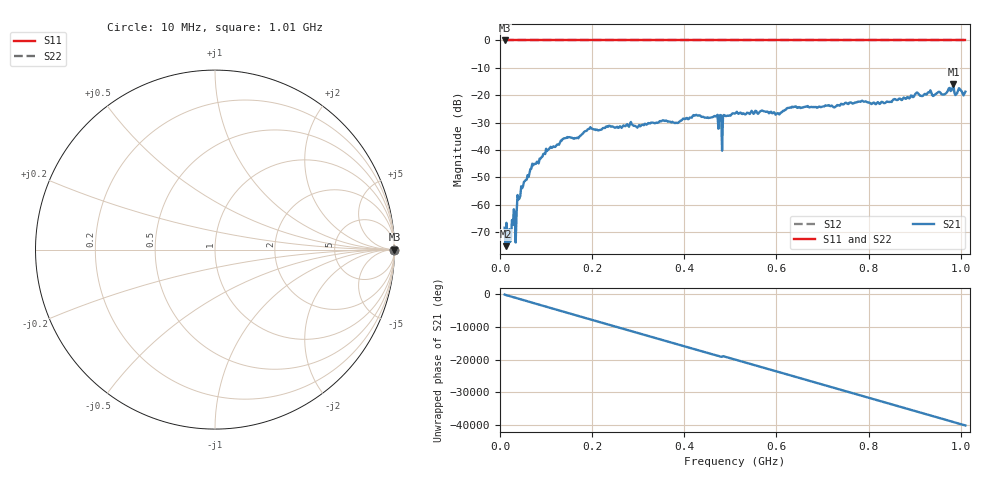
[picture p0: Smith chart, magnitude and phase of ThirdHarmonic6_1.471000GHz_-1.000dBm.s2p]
! 8/16/2025 5:09:10 PM
! C:\ANRITSUVNA\TEMP\TEMP.S2P
! CHANNEL.1
! TR.MEASUREMENT
! RAW.DATA
! RF.CORRECTION.OFF
! AVERAGING.OFF
! IF.BANDWIDTH: 5KHZ
! SWEEPTYPE:  FREQ.SWEEP(Linear)
! Reference Plane Port Info
! PORT:  PORT1  PORT2
! DISTANCE:  0  m  0  m
! TIME:  0  s  0  s
! PHASE.OFFSET:  0  deg.  0  deg.
! LOSS:  0  dB  0  dB
! REF.LOSS:  0  dB  0  dB
! REF.FREQ:  0  Hz  0  Hz
! Power Info
! POWER:  -20  dBm  -20  dBm
! EFF.POWER:  -20  dBm  -20  dBm
! SOURCE.ATTEN:  0  dB  0  dB
! TEST.ATTEN:  0  dB  0  dB
# GHZ S RI R 50.0
! FREQ.GHZ  S11RE  S11IM  S21RE  S21IM  S12RE  S12IM  S22RE  S22IM
!; PortSelection: Port_12
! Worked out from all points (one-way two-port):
!   501 points, 10 MHz to 1.01 GHz, reference 50 ohm
!   highest |S21| = -15.98 dB at 984 MHz (marker M1); lowest = -75.1 dB at 12 MHz (marker M2)
!   lowest |S11| = 0.0 dB at 10 MHz (marker M3)
!   |S11| at or under -10 dB: nowhere
!   |S22| runs from 0.0 to 0.0 dB; largest |S21 - S12| = 1.1
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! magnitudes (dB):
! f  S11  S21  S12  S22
! 10 MHz  0.0  -68.4  0.0  0.0
! 12 MHz  0.0  -75.1  0.0  0.0
! 20 MHz  0.0  -68.9  0.0  0.0
! 38 MHz  0.0  -56.4  0.0  0.0
! 42 MHz  0.0  -57.8  0.0  0.0
! 70 MHz  0.0  -45.0  0.0  0.0
! 136 MHz  0.0  -36.0  0.0  0.0
! 178 MHz  0.0  -34.2  0.0  0.0
! 196 MHz  0.0  -31.6  0.0  0.0
! 344 MHz  0.0  -29.9  0.0  0.0
! 468 MHz  0.0  -27.7  0.0  0.0
! 476 MHz  0.0  -27.5  0.0  0.0
! 478 MHz  0.0  -27.2  0.0  0.0
! 486 MHz  0.0  -27.2  0.0  0.0
! 488 MHz  0.0  -27.4  0.0  0.0
! 510 MHz  0.0  -26.7  0.0  0.0
! 602 MHz  0.0  -26.5  0.0  0.0
! 630 MHz  0.0  -24.4  0.0  0.0
! 678 MHz  0.0  -24.4  0.0  0.0
! 844 MHz  0.0  -22.4  0.0  0.0
! 984 MHz  0.0  -16.0  0.0  0.0
! 1.01 GHz  0.0  -18.7  0.0  0.0
